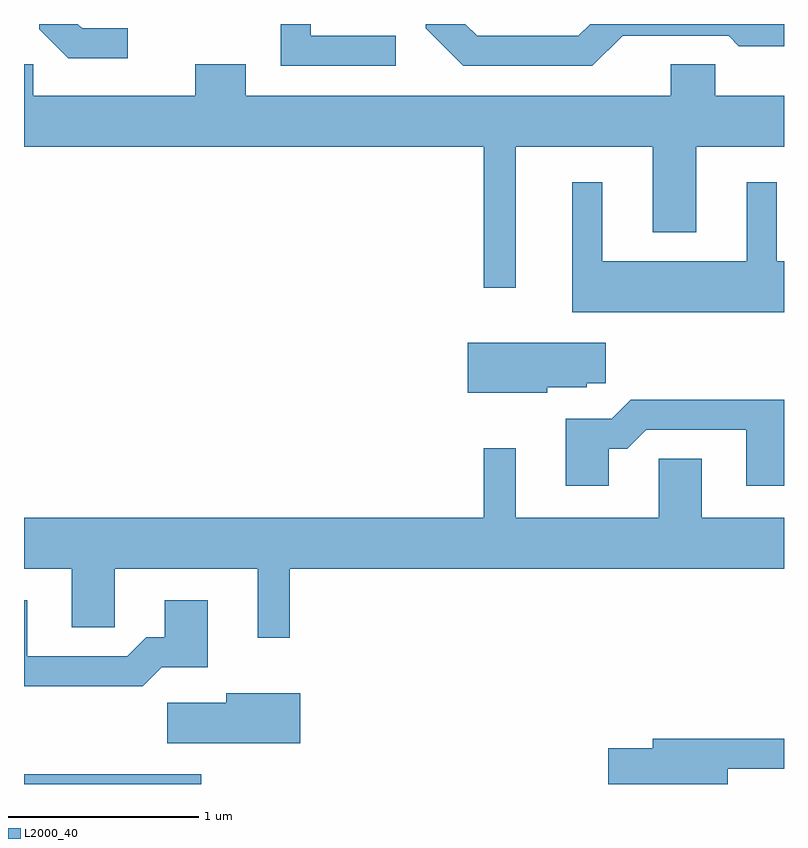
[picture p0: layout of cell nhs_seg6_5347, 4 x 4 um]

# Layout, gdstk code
import gdstk
lib = gdstk.Library(unit=1e-6, precision=1e-09)
def R(c, l, rs):  # rectangles x0, y0, x1, y1
    for r in rs: c.add(gdstk.rectangle(r[:2], r[2:], *l))
def P(c, l, *ps):  # polygons
    for p in ps: c.add(gdstk.Polygon(p, *l))
L2000_40 = (2000, 40)

nhs_seg6_5347 = lib.new_cell('nhs_seg6_5347')
R(nhs_seg6_5347, L2000_40, [(347.611,1622.162,348.544,1622.214)])
P(nhs_seg6_5347, L2000_40, [(350.762,1626.101),(351.319,1626.101),(351.374,1626.046),(351.611,1626.046),(351.611,1626.162),(350.592,1626.162),(350.529,1626.099),(349.997,1626.099),(349.934,1626.162),(349.726,1626.162),(349.726,1626.139),(349.924,1625.941),(350.602,1625.941)],
  [(349.568,1626.099),(349.119,1626.099),(349.119,1626.162),(348.961,1626.162),(348.961,1625.941),(349.568,1625.941)],
  [(348.158,1626.139),(347.917,1626.139),(347.894,1626.162),(347.691,1626.162),(347.691,1626.134),(347.844,1625.981),(348.158,1625.981)],
  [(350.199,1625.516),(350.921,1625.516),(350.921,1625.066),(351.149,1625.066),(351.149,1625.516),(351.611,1625.516),(351.611,1625.784),(351.249,1625.784),(351.249,1625.949),(351.016,1625.949),(351.016,1625.784),(348.779,1625.784),(348.779,1625.949),(348.511,1625.949),(348.511,1625.784),(347.659,1625.784),(347.659,1625.949),(347.611,1625.949),(347.611,1625.516),(350.031,1625.516),(350.031,1624.773),(350.199,1624.773)],
  [(351.611,1624.914),(351.574,1624.914),(351.574,1625.328),(351.416,1625.328),(351.416,1624.914),(350.654,1624.914),(350.654,1625.328),(350.496,1625.328),(350.496,1624.646),(351.611,1624.646)],
  [(350.364,1624.251),(350.574,1624.251),(350.574,1624.271),(350.674,1624.271),(350.674,1624.484),(349.946,1624.484),(349.946,1624.221),(350.364,1624.221)],
  [(350.689,1623.926),(350.787,1623.926),(350.887,1624.026),(351.411,1624.026),(351.411,1623.731),(351.611,1623.731),(351.611,1624.184),(350.804,1624.184),(350.704,1624.084),(350.461,1624.084),(350.461,1623.731),(350.689,1623.731)],
  [(349.009,1623.296),(351.611,1623.296),(351.611,1623.564),(351.179,1623.564),(351.179,1623.874),(350.951,1623.874),(350.951,1623.564),(350.199,1623.564),(350.199,1623.928),(350.031,1623.928),(350.031,1623.564),(347.611,1623.564),(347.611,1623.296),(347.861,1623.296),(347.861,1622.986),(348.089,1622.986),(348.089,1623.296),(348.841,1623.296),(348.841,1622.933),(349.009,1622.933)],
  [(348.337,1622.776),(348.579,1622.776),(348.579,1623.129),(348.351,1623.129),(348.351,1622.934),(348.254,1622.934),(348.154,1622.834),(347.629,1622.834),(347.629,1623.129),(347.611,1623.129),(347.611,1622.676),(348.237,1622.676)],
  [(349.064,1622.639),(348.676,1622.639),(348.676,1622.589),(348.366,1622.589),(348.366,1622.376),(349.064,1622.376)],
  [(351.314,1622.241),(351.611,1622.241),(351.611,1622.399),(350.921,1622.399),(350.921,1622.349),(350.686,1622.349),(350.686,1622.162),(351.314,1622.162)])

lib.write_gds('nhs_seg6_5347.gds')
